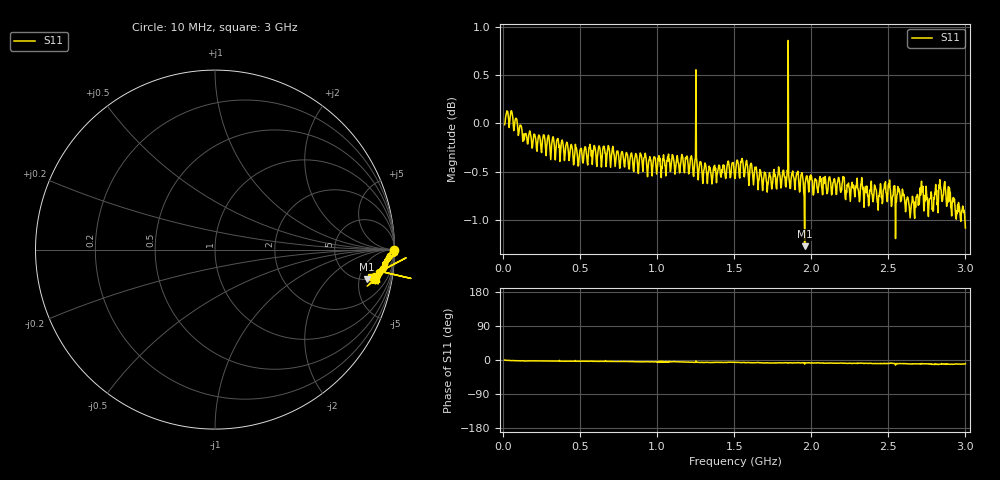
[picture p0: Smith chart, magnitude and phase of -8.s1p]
# HZ S RI R 50
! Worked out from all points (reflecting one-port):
!   1010 points, 10 MHz to 3 GHz, reference 50 ohm
!   lowest |S11| = -1.3 dB at 1.957 GHz (marker M1), VSWR 13.71, Z = 255 - j329 ohm
!   phase of S11 starts at -0 deg and turns -10 deg over the sweep
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1e7  0.9986 -0.00351
4.555996e7  1.007 -0.0241
1.403865e8  0.9848 -0.0463
3.863429e8  0.9771 -0.053
7.597225e8  0.9486 -0.0642
9.878989e8  0.9562 -0.0816
1.133102e9  0.9556 -0.0806
1.233855e9  0.9361 -0.0951
1.236819e9  0.9333 -0.1019
1.290159e9  0.9397 -0.0995
1.506482e9  0.9318 -0.1
1.728731e9  0.9344 -0.1278
1.832448e9  0.9218 -0.1123
1.835411e9  0.9193 -0.1203
1.879861e9  0.9362 -0.128
1.956908e9  0.8484 -0.1635
2.253241e9  0.9011 -0.1363
2.321397e9  0.9213 -0.1281
2.434004e9  0.8891 -0.1512
2.525867e9  0.9041 -0.1411
2.5555e9  0.9055 -0.1537
2.62662e9  0.9019 -0.1588
2.712557e9  0.9158 -0.1526
2.748117e9  0.906 -0.1607
2.81331e9  0.9057 -0.1812
2.84887e9  0.8951 -0.1711
2.9111e9  0.8799 -0.1672
3e9  0.87 -0.1506
